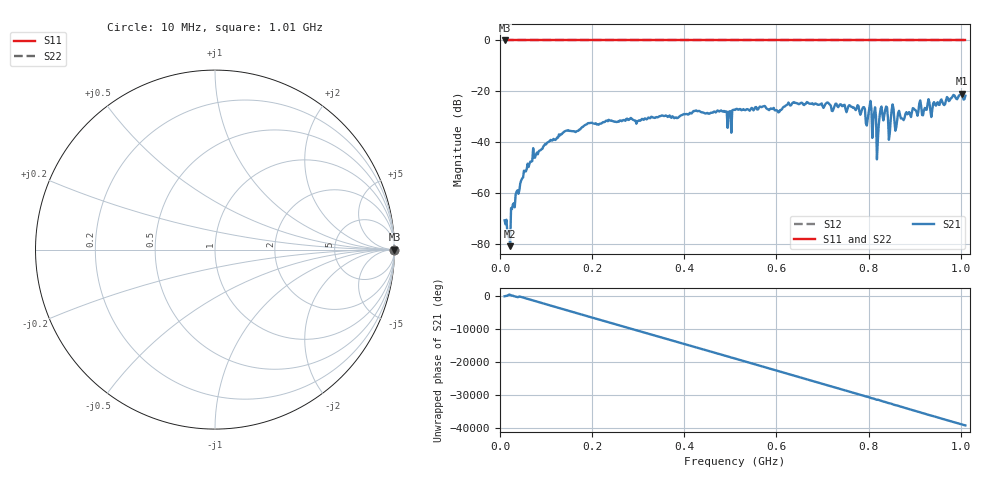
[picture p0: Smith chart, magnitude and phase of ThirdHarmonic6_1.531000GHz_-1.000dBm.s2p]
! 8/16/2025 6:07:23 PM
! C:\ANRITSUVNA\TEMP\TEMP.S2P
! CHANNEL.1
! TR.MEASUREMENT
! RAW.DATA
! RF.CORRECTION.OFF
! AVERAGING.OFF
! IF.BANDWIDTH: 5KHZ
! SWEEPTYPE:  FREQ.SWEEP(Linear)
! Reference Plane Port Info
! PORT:  PORT1  PORT2
! DISTANCE:  0  m  0  m
! TIME:  0  s  0  s
! PHASE.OFFSET:  0  deg.  0  deg.
! LOSS:  0  dB  0  dB
! REF.LOSS:  0  dB  0  dB
! REF.FREQ:  0  Hz  0  Hz
! Power Info
! POWER:  -20  dBm  -20  dBm
! EFF.POWER:  -20  dBm  -20  dBm
! SOURCE.ATTEN:  0  dB  0  dB
! TEST.ATTEN:  0  dB  0  dB
# GHZ S RI R 50.0
! FREQ.GHZ  S11RE  S11IM  S21RE  S21IM  S12RE  S12IM  S22RE  S22IM
!; PortSelection: Port_12
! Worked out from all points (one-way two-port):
!   501 points, 10 MHz to 1.01 GHz, reference 50 ohm
!   highest |S21| = -20.87 dB at 1.002 GHz (marker M1); lowest = -80.8 dB at 22 MHz (marker M2)
!   lowest |S11| = 0.0 dB at 10 MHz (marker M3)
!   |S11| at or under -10 dB: nowhere
!   |S22| runs from 0.0 to 0.0 dB; largest |S21 - S12| = 1.1
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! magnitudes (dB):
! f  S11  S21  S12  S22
! 10 MHz  0.0  -70.6  0.0  0.0
! 18 MHz  0.0  -77.3  0.0  0.0
! 22 MHz  0.0  -80.8  0.0  0.0
! 28 MHz  0.0  -64.4  0.0  0.0
! 48 MHz  0.0  -54.2  0.0  0.0
! 76 MHz  0.0  -46.0  0.0  0.0
! 178 MHz  0.0  -34.1  0.0  0.0
! 344 MHz  0.0  -30.0  0.0  0.0
! 498 MHz  0.0  -27.9  0.0  0.0
! 510 MHz  0.0  -27.3  0.0  0.0
! 678 MHz  0.0  -24.7  0.0  0.0
! 788 MHz  0.0  -26.3  0.0  0.0
! 796 MHz  0.0  -33.4  0.0  0.0
! 802 MHz  0.0  -26.0  0.0  0.0
! 820 MHz  0.0  -39.3  0.0  0.0
! 826 MHz  0.0  -26.7  0.0  0.0
! 838 MHz  0.0  -26.0  0.0  0.0
! 844 MHz  0.0  -39.0  0.0  0.0
! 852 MHz  0.0  -25.1  0.0  0.0
! 860 MHz  0.0  -34.1  0.0  0.0
! 1.002 GHz  0.0  -20.9  0.0  0.0
! 1.01 GHz  0.0  -21.7  0.0  0.0
